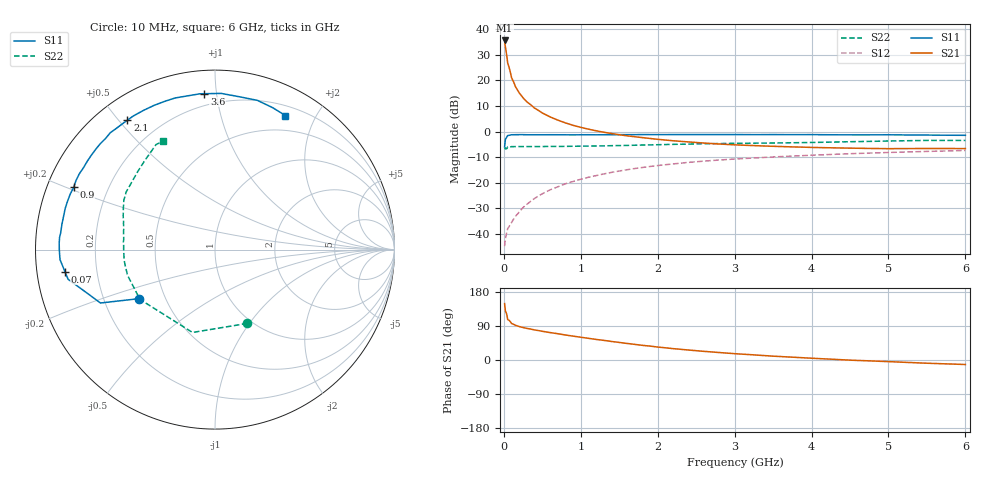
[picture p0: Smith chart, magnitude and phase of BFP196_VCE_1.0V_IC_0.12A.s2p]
! Infineon Technologies  Discrete & RF Semiconductors
! BFP196
! VCE =  1.0 V,  IC = 0.12 A
! Common Emitter S-Parameters:  Jan 2017
# GHz  S  MA  R  50
!  f  S11  S21  S12  S22
! GHz  MAG  ANG  MAG  ANG  MAG  ANG  MAG  ANG
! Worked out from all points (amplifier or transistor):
!   77 points, 10 MHz to 6 GHz, reference 50 ohm
!   highest |S21| = 35.5 dB at 10 MHz (marker M1)
!   |S21| within 3 dB of that: start of sweep to 22.52 MHz
!   unconditionally stable (mu >= 1): 159.6 MHz to end of sweep
!   at 130 MHz: K = 0.94, MSG = 26.6 dB, |S12| = -34.0 dB
!   at 2.2 GHz: K = 1.06, MAG = 3.0 dB, |S12| = -12.6 dB
!   at 6 GHz: K = 1.05, MAG = -1.0 dB, |S12| = -7.4 dB
!   S11 on the Smith chart (normalised r, x): 10 MHz: 0.36, -0.26; 70 MHz: 0.08, -0.07; 900 MHz: 0.08, +0.21; 2.1 GHz: 0.09, +0.53; 3.6 GHz: 0.13, +0.93; 6 GHz: 0.31, +1.61
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0.01  0.5029 -147.1  59.8 148.8  0.0058 57.1  0.449 -66.3
0.02  0.704 -155.0  44.53 129.5  0.008 53.9  0.4784 -105.2
0.05  0.8351 -168.6  21.64 106.9  0.0127 42.8  0.5018 -146.4
0.07  0.8453 -171.7  17.43 104.2  0.0142 49.1  0.4988 -153.3
0.1  0.8653 -176.3  11.26 96.2  0.0167 56.2  0.5079 -163.6
0.15  0.8673 -179.8  7.548 91.7  0.0221 61.3  0.5081 -170.0
0.2  0.8688 177.7  5.67 88.3  0.0268 65.6  0.5097 -173.6
0.25  0.8687 175.6  4.537 85.6  0.033 67.5  0.5084 -175.9
0.3  0.8649 173.8  3.788 83.4  0.038 68.1  0.5086 -177.9
0.4  0.8644 170.6  2.861 79.3  0.0495 70.7  0.509 179.6
0.5  0.8639 167.4  2.298 75.8  0.0611 70.3  0.5093 177.5
0.6  0.8655 164.6  1.933 72.4  0.0727 69.5  0.5128 175.6
0.7  0.8647 162.0  1.671 69.4  0.0833 68.8  0.5116 173.9
0.9  0.8602 156.1  1.322 63.0  0.106 66.4  0.5159 171.0
1.1  0.8659 150.8  1.113 57.2  0.1281 63.7  0.5208 168.1
1.5  0.8684 140.0  0.865 46.4  0.1696 57.3  0.5329 163.0
2.1  0.8706 124.1  0.682 32.2  0.225 47.3  0.5573 156.4
3.1  0.8714 102.9  0.542 15.4  0.2963 31.9  0.5906 145.9
3.6  0.8706 93.9  0.51 9.1  0.3242 25.3  0.5994 139.7
4.1  0.868 86.3  0.486 3.7  0.3497 18.9  0.6154 133.3
5.1  0.8614 72.9  0.464 -5.1  0.3938 6.9  0.6565 122.1
6  0.8437 62.3  0.465 -11.9  0.426 -3.0  0.6702 115.7
